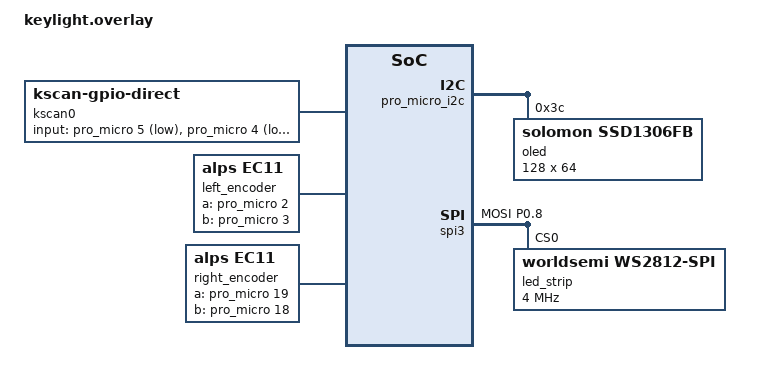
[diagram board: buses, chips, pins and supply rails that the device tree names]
#include <dt-bindings/led/led.h>

/ {
    chosen {
        zmk,kscan = &kscan0;
        zmk,underglow = &led_strip;
    };

    kscan0: kscan {
        compatible = "zmk,kscan-gpio-direct";
        wakeup-source;

        input-gpios
            = <&pro_micro 5 (GPIO_ACTIVE_LOW | GPIO_PULL_UP)>
            , <&pro_micro 4 (GPIO_ACTIVE_LOW | GPIO_PULL_UP)>
            , <&pro_micro 16 (GPIO_ACTIVE_LOW | GPIO_PULL_UP)>
            , <&pro_micro 10 (GPIO_ACTIVE_LOW | GPIO_PULL_UP)>
            , <&pro_micro 8 (GPIO_ACTIVE_LOW | GPIO_PULL_UP)>
            , <&pro_micro 7 (GPIO_ACTIVE_LOW | GPIO_PULL_UP)>
            ;

    };

    left_encoder: encoder_left {
        compatible = "alps,ec11";
        a-gpios = <&pro_micro 2 (GPIO_ACTIVE_HIGH | GPIO_PULL_UP)>;
        b-gpios = <&pro_micro 3 (GPIO_ACTIVE_HIGH | GPIO_PULL_UP)>;
        steps = <80>;
        status = "okay";
    };

    right_encoder: encoder_right {
        compatible = "alps,ec11";
        a-gpios = <&pro_micro 19 (GPIO_ACTIVE_HIGH | GPIO_PULL_UP)>;
        b-gpios = <&pro_micro 18 (GPIO_ACTIVE_HIGH | GPIO_PULL_UP)>;
        steps = <80>;
        status = "okay";
    };

    sensors: sensors {
        compatible = "zmk,keymap-sensors";
        sensors = <&left_encoder &right_encoder>;
        triggers-per-rotation = <20>;
    };
};
 &pro_micro_i2c {
    status = "okay";
    
    oled: ssd1306@3c {
        compatible = "solomon,ssd1306fb";
        reg = <0x3c>;
        width = <128>;
        height = <64>;
        segment-offset = <0>;
        page-offset = <0>;
        display-offset = <0>;
        multiplex-ratio = <63>;
        segment-remap;
        com-invdir;
        inversion-on;
        prechargep = <0x22>;
        };
    };
&pinctrl {
    spi3_default: spi3_default {
        group1 {
            psels = <NRF_PSEL(SPIM_MOSI, 0, 8)>;
        };
    };

    spi3_sleep: spi3_sleep {
        group1 {
            psels = <NRF_PSEL(SPIM_MOSI, 0, 8)>;
            low-power-enable;
        };
    };
};

&spi3 {
  compatible = "nordic,nrf-spim";
  status = "okay";

  pinctrl-0 = <&spi3_default>;
  pinctrl-1 = <&spi3_sleep>;
  pinctrl-names = "default", "sleep";

  led_strip: ws2812@0 {
    compatible = "worldsemi,ws2812-spi";

    /* SPI */
    reg = <0>; /* ignored, but necessary for SPI bindings */
    spi-max-frequency = <4000000>;

    /* WS2812 */
    chain-length = <1>; /* number of LEDs */
    spi-one-frame = <0x70>;
    spi-zero-frame = <0x40>;
    color-mapping = <LED_COLOR_ID_GREEN
                          LED_COLOR_ID_RED
                          LED_COLOR_ID_BLUE>;
  };
};

